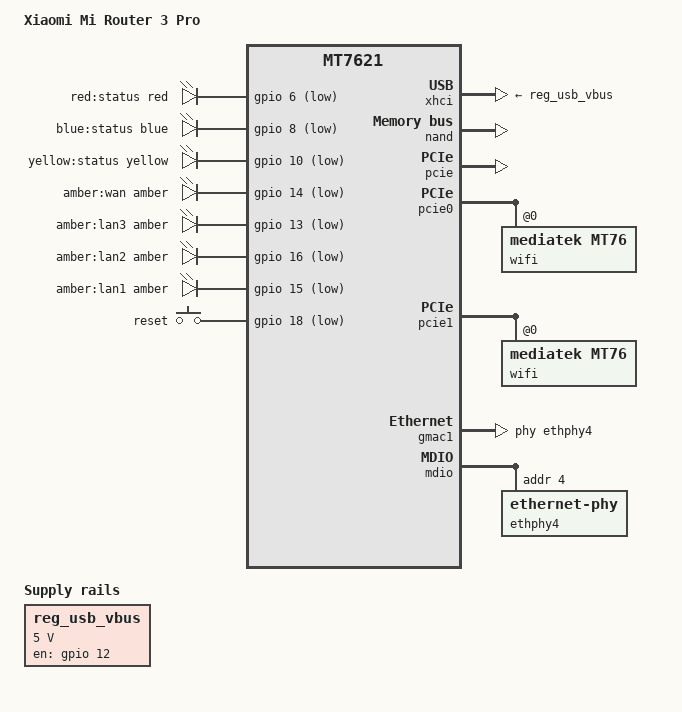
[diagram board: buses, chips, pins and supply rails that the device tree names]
// SPDX-License-Identifier: GPL-2.0-or-later OR MIT

#include "mt7621.dtsi"

#include <dt-bindings/gpio/gpio.h>
#include <dt-bindings/input/input.h>
#include <dt-bindings/leds/common.h>

/ {
	compatible = "xiaomi,mi-router-3-pro", "mediatek,mt7621-soc";
	model = "Xiaomi Mi Router 3 Pro";

	aliases {
		led-boot = &led_status_yellow;
		led-failsafe = &led_status_red;
		led-running = &led_status_blue;
		led-upgrade = &led_status_yellow;
		label-mac-device = &gmac0;
	};

	chosen {
		bootargs = "console=ttyS0,115200n8";
	};

	leds {
		compatible = "gpio-leds";

		led_status_red: led-0 {
			label = "red:status";
			color = <LED_COLOR_ID_RED>;
			function = LED_FUNCTION_STATUS;
			gpios = <&gpio 6 GPIO_ACTIVE_LOW>;
		};

		led_status_blue: led-1 {
			label = "blue:status";
			color = <LED_COLOR_ID_BLUE>;
			function = LED_FUNCTION_STATUS;
			gpios = <&gpio 8 GPIO_ACTIVE_LOW>;
		};

		led_status_yellow: led-2 {
			label = "yellow:status";
			color = <LED_COLOR_ID_YELLOW>;
			function = LED_FUNCTION_STATUS;
			gpios = <&gpio 10 GPIO_ACTIVE_LOW>;
		};

		led-3 {
			label = "amber:wan";
			color = <LED_COLOR_ID_AMBER>;
			function = LED_FUNCTION_WAN;
			gpios = <&gpio 14 GPIO_ACTIVE_LOW>;
			linux,default-trigger = "mt7530-0:04:1Gbps";
		};

		led-4 {
			label = "amber:lan3";
			color = <LED_COLOR_ID_AMBER>;
			function = LED_FUNCTION_LAN;
			function-enumerator = <3>;
			gpios = <&gpio 13 GPIO_ACTIVE_LOW>;
			linux,default-trigger = "mt7530-0:03:1Gbps";
		};

		led-5 {
			label = "amber:lan2";
			color = <LED_COLOR_ID_AMBER>;
			function = LED_FUNCTION_LAN;
			function-enumerator = <2>;
			gpios = <&gpio 16 GPIO_ACTIVE_LOW>;
			linux,default-trigger = "mt7530-0:02:1Gbps";
		};

		led-6 {
			label = "amber:lan1";
			color = <LED_COLOR_ID_AMBER>;
			function = LED_FUNCTION_LAN;
			function-enumerator = <1>;
			gpios = <&gpio 15 GPIO_ACTIVE_LOW>;
			linux,default-trigger = "mt7530-0:01:1Gbps";
		};
	};

	keys {
		compatible = "gpio-keys";

		reset {
			label = "reset";
			gpios = <&gpio 18 GPIO_ACTIVE_LOW>;
			linux,code = <KEY_RESTART>;
		};
	};

	reg_usb_vbus: regulator {
		compatible = "regulator-fixed";
		regulator-name = "usb_vbus";
		regulator-min-microvolt = <5000000>;
		regulator-max-microvolt = <5000000>;
		gpio = <&gpio 12 GPIO_ACTIVE_HIGH>;
		enable-active-high;
	};
};

&xhci {
	vbus-supply = <&reg_usb_vbus>;
};

&nand {
	status = "okay";

	partitions {
		compatible = "fixed-partitions";
		#address-cells = <1>;
		#size-cells = <1>;

		partition@0 {
			label = "Bootloader";
			reg = <0x0 0x40000>;
			read-only;
		};

		partition@40000 {
			label = "Config";
			reg = <0x40000 0x40000>;
		};

		partition@80000 {
			label = "Bdata";
			reg = <0x80000 0x40000>;
			read-only;
		};

		factory: partition@c0000 {
			label = "factory";
			reg = <0x0c0000 0x40000>;
			read-only;
		};

		partition@100000 {
			label = "crash";
			reg = <0x100000 0x40000>;
		};

		partition@140000 {
			label = "crash_syslog";
			reg = <0x140000 0x80000>;
		};

		partition@1c0000 {
			label = "reserved0";
			reg = <0x1c0000 0x40000>;
			read-only;
		};

		/* We keep stock xiaomi firmware (kernel0) here */
		partition@200000 {
			label = "kernel_stock";
			reg = <0x200000 0x400000>;
		};

		partition@600000 {
			label = "kernel";
			reg = <0x600000 0x400000>;
		};

		partition@a00000 {
			label = "ubi";
			reg = <0xa00000 0xf580000>;
		};
	};
};

&pcie {
	status = "okay";
};

&pcie0 {
	wifi@0,0 {
		compatible = "mediatek,mt76";
		reg = <0x0000 0 0 0 0>;
		mediatek,mtd-eeprom = <&factory 0x0000>;
		ieee80211-freq-limit = <2400000 2500000>;
	};
};

&pcie1 {
	wifi@0,0 {
		compatible = "mediatek,mt76";
		reg = <0x0000 0 0 0 0>;
		mediatek,mtd-eeprom = <&factory 0x8000>;
		ieee80211-freq-limit = <5000000 6000000>;
	};
};

&gmac0 {
	nvmem-cells = <&macaddr_factory_e006>;
	nvmem-cell-names = "mac-address";
};

&gmac1 {
	status = "okay";
	label = "wan";
	phy-handle = <&ethphy4>;

	nvmem-cells = <&macaddr_factory_e000>;
	nvmem-cell-names = "mac-address";
};

&mdio {
	ethphy4: ethernet-phy@4 {
		reg = <4>;
	};
};

&switch0 {
	ports {
		port@1 {
			status = "okay";
			label = "lan3";
		};

		port@2 {
			status = "okay";
			label = "lan2";
		};

		port@3 {
			status = "okay";
			label = "lan1";
		};
	};
};

&state_default {
	gpio {
		groups = "jtag", "uart2", "uart3", "wdt";
		function = "gpio";
	};
};

&factory {
	compatible = "nvmem-cells";
	#address-cells = <1>;
	#size-cells = <1>;

	macaddr_factory_e000: macaddr@e000 {
		reg = <0xe000 0x6>;
	};

	macaddr_factory_e006: macaddr@e006 {
		reg = <0xe006 0x6>;
	};
};
